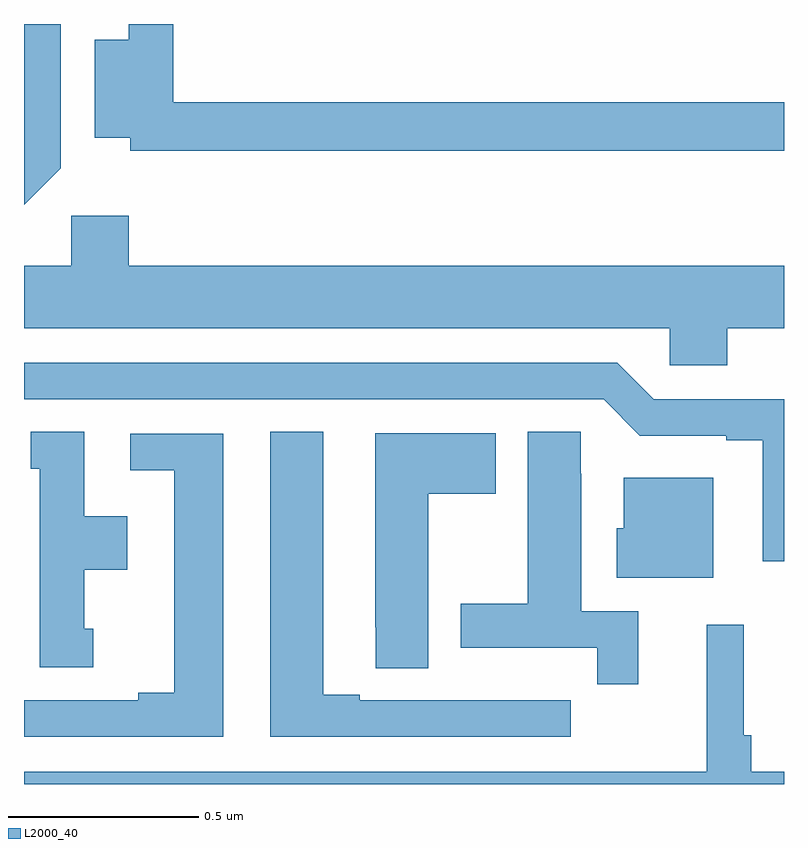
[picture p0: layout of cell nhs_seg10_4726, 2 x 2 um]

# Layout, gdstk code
import gdstk
lib = gdstk.Library(unit=1e-6, precision=1e-09)
def P(c, l, *ps):  # polygons
    for p in ps: c.add(gdstk.Polygon(p, *l))
L2000_40 = (2000, 40)

nhs_seg10_4726 = lib.new_cell('nhs_seg10_4726')
P(nhs_seg10_4726, L2000_40, [(170.097,1250.121),(170.097,1250.5),(170.001,1250.5),(170.001,1250.163),(170,1250.162),(170,1250.024)],
  [(172,1250.294),(170.393,1250.294),(170.393,1250.5),(170.276,1250.5),(170.276,1250.458),(170.186,1250.458),(170.186,1250.201),(170.28,1250.201),(170.28,1250.166),(172,1250.166)],
  [(171.851,1249.7),(172,1249.7),(172,1249.864),(170.276,1249.864),(170.276,1249.996),(170.124,1249.996),(170.124,1249.864),(170,1249.864),(170,1249.7),(171.699,1249.7),(171.699,1249.602),(171.851,1249.602)],
  [(172,1249.512),(171.657,1249.512),(171.561,1249.608),(170,1249.608),(170,1249.512),(171.525,1249.512),(171.621,1249.416),(171.848,1249.416),(171.848,1249.404),(171.944,1249.404),(171.944,1249.086),(172,1249.086)],
  [(171.617,1248.954),(171.466,1248.954),(171.466,1249.316),(171.465,1249.316),(171.465,1249.427),(171.326,1249.427),(171.326,1248.975),(171.149,1248.975),(171.149,1248.858),(171.508,1248.858),(171.508,1248.762),(171.617,1248.762)],
  [(171.439,1248.72),(171.326,1248.72),(171.326,1248.721),(171.16,1248.721),(171.16,1248.72),(170.884,1248.72),(170.884,1248.735),(170.788,1248.735),(170.788,1249.427),(170.648,1249.427),(170.648,1248.624),(171.439,1248.624)],
  [(170.182,1248.909),(170.158,1248.909),(170.158,1249.064),(170.272,1249.064),(170.272,1249.204),(170.158,1249.204),(170.158,1249.427),(170.018,1249.427),(170.018,1249.329),(170.042,1249.329),(170.042,1248.807),(170.182,1248.807)],
  [(171.064,1249.264),(171.241,1249.264),(171.241,1249.423),(170.924,1249.423),(170.924,1248.913),(170.925,1248.913),(170.925,1248.805),(171.064,1248.805)],
  [(170.524,1249.422),(170.28,1249.422),(170.28,1249.326),(170.396,1249.326),(170.396,1248.74),(170.3,1248.74),(170.3,1248.72),(170,1248.72),(170,1248.624),(170.524,1248.624)],
  [(171.814,1249.306),(171.578,1249.306),(171.578,1249.173),(171.56,1249.173),(171.56,1249.043),(171.814,1249.043)],
  [(172,1248.532),(171.914,1248.532),(171.914,1248.628),(171.894,1248.628),(171.894,1248.919),(171.797,1248.919),(171.797,1248.532),(170,1248.532),(170,1248.5),(172,1248.5)])

lib.write_gds('nhs_seg10_4726.gds')
